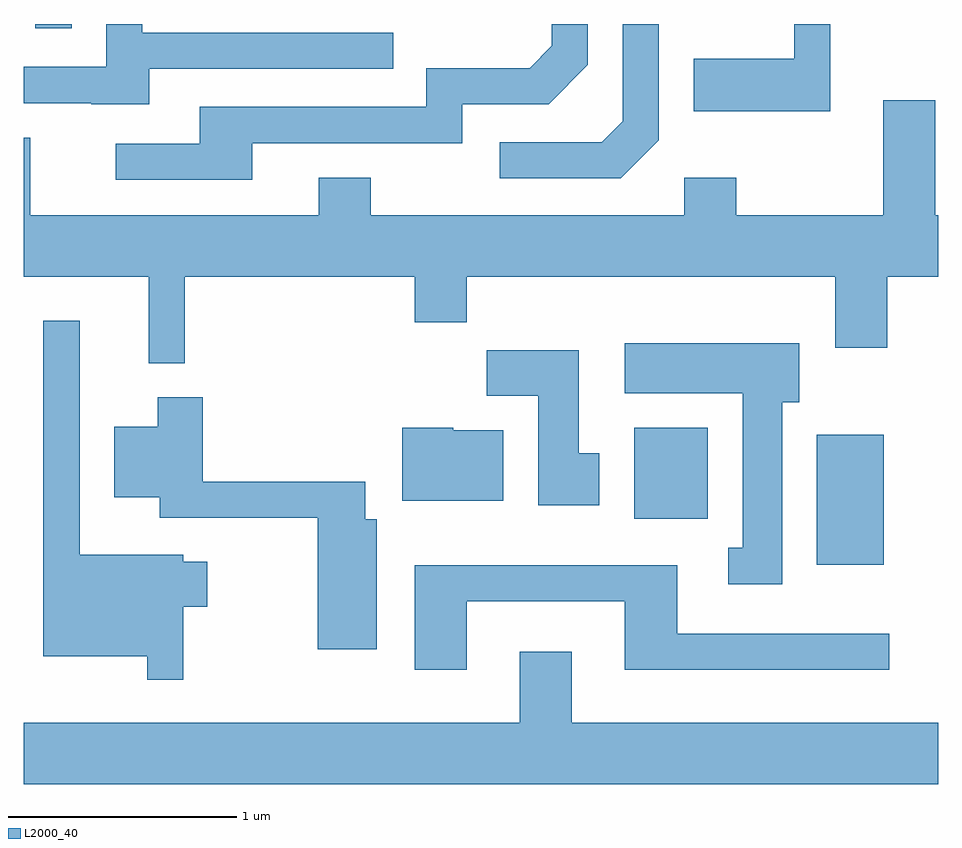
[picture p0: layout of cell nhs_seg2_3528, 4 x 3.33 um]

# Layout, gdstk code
import gdstk
lib = gdstk.Library(unit=1e-6, precision=1e-09)
def R(c, l, rs):  # rectangles x0, y0, x1, y1
    for r in rs: c.add(gdstk.rectangle(r[:2], r[2:], *l))
def P(c, l, *ps):  # polygons
    for p in ps: c.add(gdstk.Polygon(p, *l))
L2000_40 = (2000, 40)

nhs_seg2_3528 = lib.new_cell('nhs_seg2_3528')
R(nhs_seg2_3528, L2000_40, [(291.081,1111.436,291.374,1112.004), (290.281,1111.636,290.604,1112.034), (287.661,1113.783,287.819,1113.802)])
P(nhs_seg2_3528, L2000_40, [(291.139,1113.802),(290.981,1113.802),(290.981,1113.649),(290.541,1113.649),(290.541,1113.421),(291.139,1113.421)],
  [(290.389,1113.294),(290.389,1113.802),(290.231,1113.802),(290.231,1113.377),(290.139,1113.284),(289.693,1113.284),(289.693,1113.126),(290.222,1113.126)],
  [(288.159,1113.606),(289.228,1113.606),(289.228,1113.764),(288.129,1113.764),(288.129,1113.802),(287.971,1113.802),(287.971,1113.614),(287.611,1113.614),(287.611,1113.456),(287.905,1113.456),(287.905,1113.451),(288.159,1113.451)],
  [(288.609,1113.281),(289.529,1113.281),(289.529,1113.451),(289.907,1113.451),(290.079,1113.624),(290.079,1113.802),(289.921,1113.802),(289.921,1113.707),(289.824,1113.609),(289.371,1113.609),(289.371,1113.439),(288.381,1113.439),(288.381,1113.279),(288.013,1113.279),(288.013,1113.121),(288.609,1113.121)],
  [(288.314,1112.696),(289.321,1112.696),(289.321,1112.496),(289.549,1112.496),(289.549,1112.696),(291.161,1112.696),(291.161,1112.386),(291.389,1112.386),(291.389,1112.696),(291.611,1112.696),(291.611,1112.964),(291.599,1112.964),(291.599,1113.469),(291.371,1113.469),(291.371,1112.964),(290.729,1112.964),(290.729,1113.129),(290.501,1113.129),(290.501,1112.964),(289.129,1112.964),(289.129,1113.129),(288.901,1113.129),(288.901,1112.964),(287.639,1112.964),(287.639,1113.304),(287.611,1113.304),(287.611,1112.696),(288.156,1112.696),(288.156,1112.318),(288.314,1112.318)],
  [(288.309,1111.251),(288.414,1111.251),(288.414,1111.449),(288.309,1111.449),(288.309,1111.479),(287.854,1111.479),(287.854,1112.503),(287.696,1112.503),(287.696,1111.036),(288.151,1111.036),(288.151,1110.933),(288.309,1110.933)],
  [(290.929,1112.146),(291.004,1112.146),(291.004,1112.404),(290.241,1112.404),(290.241,1112.186),(290.756,1112.186),(290.756,1111.509),(290.693,1111.509),(290.693,1111.351),(290.929,1111.351)],
  [(290.129,1111.924),(290.039,1111.924),(290.039,1112.374),(289.636,1112.374),(289.636,1112.176),(289.861,1112.176),(289.861,1111.696),(290.129,1111.696)],
  [(289.154,1111.634),(289.104,1111.634),(289.104,1111.799),(288.394,1111.799),(288.394,1112.169),(288.196,1112.169),(288.196,1112.039),(288.006,1112.039),(288.006,1111.731),(288.206,1111.731),(288.206,1111.641),(288.896,1111.641),(288.896,1111.066),(289.154,1111.066)],
  [(289.709,1112.024),(289.49,1112.024),(289.49,1112.034),(289.266,1112.034),(289.266,1111.716),(289.709,1111.716)],
  [(289.549,1111.276),(290.241,1111.276),(290.241,1110.976),(291.398,1110.976),(291.398,1111.134),(290.469,1111.134),(290.469,1111.434),(289.321,1111.434),(289.321,1110.976),(289.549,1110.976)],
  [(291.611,1110.744),(290.009,1110.744),(290.009,1111.054),(289.781,1111.054),(289.781,1110.744),(287.611,1110.744),(287.611,1110.476),(291.611,1110.476)])

lib.write_gds('nhs_seg2_3528.gds')
